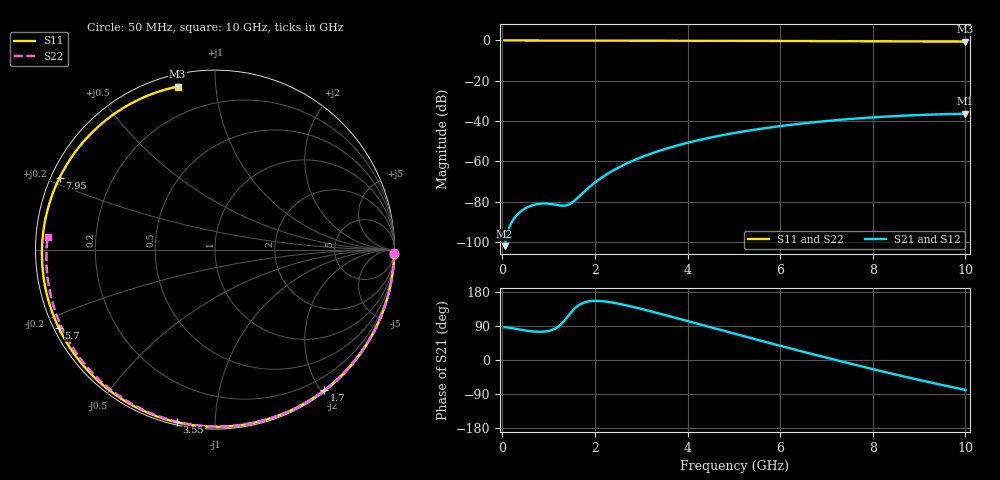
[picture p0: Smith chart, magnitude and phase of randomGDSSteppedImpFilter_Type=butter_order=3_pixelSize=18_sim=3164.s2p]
! freq	dB(S11)	phase(S11)	dB(S12)	phase(S12)
!  dB(S21)	phase(S21)	dB(S22)	phase(S22)
!S-par simulation data
#  GHz  S  DB  R 50
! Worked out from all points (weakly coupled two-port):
!   200 points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, 50 MHz to 10 GHz, reference 50 ohm
!   highest |S21| = -36.35 dB at 10 GHz (marker M1); lowest = -102.0 dB at 50 MHz (marker M2)
!   lowest |S11| = -0.6 dB at 10 GHz (marker M3), VSWR 28.27, Z = 2.89 + j39.7 ohm
!   |S11| at or under -10 dB: nowhere
!   |S22| runs from -0.6 to 0.0 dB; largest |S21 - S12| = 0
!   S11 on the Smith chart (normalised r, x): 50 MHz: 2, -75; 1.7 GHz: 0.02, -2.05; 3.55 GHz: 0.01, -0.80; 5.7 GHz: 0.01, -0.24; 7.95 GHz: 0.02, +0.22; 10 GHz: 0.06, +0.79
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0.05  -0.01 -1.5  -102.00 86.5  -102.00 86.5  -0.00 -1.0
0.4  -0.02 -12.5  -84.76 79.9  -84.76 79.9  -0.01 -8.6
0.75  -0.03 -23.4  -81.15 74.6  -81.15 74.6  -0.02 -16.0
1.5  -0.06 -46.2  -80.50 127.9  -80.50 127.9  -0.04 -31.8
1.55  -0.06 -47.7  -79.63 134.5  -79.63 134.5  -0.04 -32.9
1.7  -0.06 -52.1  -76.48 148.2  -76.48 148.2  -0.05 -36.0
1.75  -0.07 -53.5  -75.40 151.0  -75.40 151.0  -0.05 -37.0
2.1  -0.08 -63.6  -68.76 155.8  -68.76 155.8  -0.06 -44.1
2.45  -0.09 -73.4  -63.75 150.0  -63.75 150.0  -0.06 -51.2
2.9  -0.11 -85.6  -58.85 137.9  -58.85 137.9  -0.08 -60.1
3.4  -0.12 -98.6  -54.65 122.4  -54.65 122.4  -0.09 -69.7
3.55  -0.13 -102.4  -53.58 117.6  -53.58 117.6  -0.10 -72.6
4.25  -0.16 -119.7  -49.37 94.6  -49.37 94.6  -0.12 -85.6
5.05  -0.20 -138.5  -45.73 68.2  -45.73 68.2  -0.15 -99.9
5.7  -0.23 -153.4  -43.41 47.1  -43.41 47.1  -0.18 -111.2
6.2  -0.27 -164.7  -41.92 31.2  -41.92 31.2  -0.21 -119.7
6.7  -0.30 -176.0  -40.64 15.5  -40.64 15.5  -0.25 -128.1
7.35  -0.36 169.2  -39.25 -4.5  -39.25 -4.5  -0.29 -138.9
7.95  -0.41 155.1  -38.22 -22.5  -38.22 -22.5  -0.35 -148.8
8.35  -0.45 145.5  -37.66 -34.2  -37.66 -34.2  -0.39 -155.5
9.25  -0.54 122.9  -36.76 -59.4  -36.76 -59.4  -0.49 -170.9
10  -0.61 102.9  -36.35 -78.8  -36.35 -78.8  -0.58 175.7
